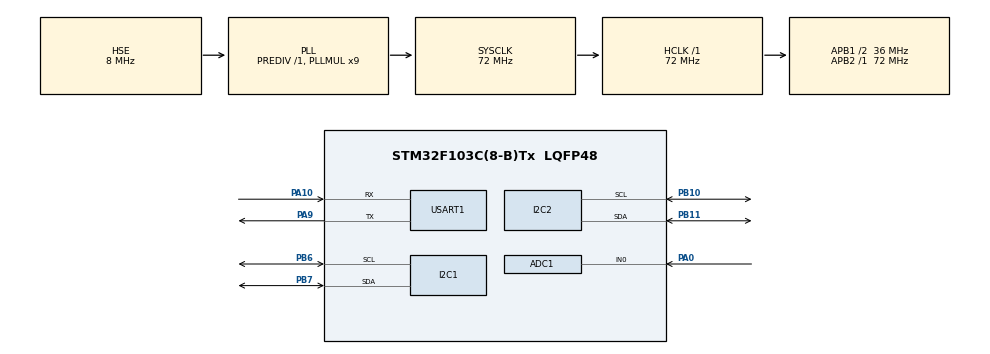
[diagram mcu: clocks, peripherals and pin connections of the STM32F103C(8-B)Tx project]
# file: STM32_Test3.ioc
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ADC1.Channel-0\#ChannelRegularConversion=ADC_CHANNEL_0
ADC1.NbrOfConversionFlag=1
ADC1.Rank-0\#ChannelRegularConversion=1
ADC1.SamplingTime-0\#ChannelRegularConversion=ADC_SAMPLETIME_1CYCLE_5
ADC1.master=1
Mcu.Family=STM32F1
Mcu.Name=STM32F103C(8-B)Tx
Mcu.Package=LQFP48
NVIC.PriorityGroup=NVIC_PRIORITYGROUP_4
NVIC.TIM2_IRQn=true\:0\:0\:false\:false\:true\:true\:true\:true
NVIC.USART1_IRQn=true\:0\:0\:false\:false\:true\:true\:true\:true
PA0-WKUP.Signal=ADCx_IN0
PA10.Mode=Asynchronous
PA10.Signal=USART1_RX
PA13.Mode=Serial_Wire
PA13.Signal=SYS_JTMS-SWDIO
PA14.Mode=Serial_Wire
PA14.Signal=SYS_JTCK-SWCLK
PA9.Mode=Asynchronous
PA9.Signal=USART1_TX
PB10.Mode=I2C
PB10.Signal=I2C2_SCL
PB11.Mode=I2C
PB11.Signal=I2C2_SDA
PB6.Mode=I2C
PB6.Signal=I2C1_SCL
PB7.Mode=I2C
PB7.Signal=I2C1_SDA
PD0-OSC_IN.Mode=HSE-External-Oscillator
PD0-OSC_IN.Signal=RCC_OSC_IN
PD1-OSC_OUT.Mode=HSE-External-Oscillator
PD1-OSC_OUT.Signal=RCC_OSC_OUT
ProjectManager.HeapSize=0x200
ProjectManager.StackSize=0x400
ProjectManager.TargetToolchain=STM32CubeIDE
RCC.ADCPresc=RCC_ADCPCLK2_DIV6
RCC.AHBFreq_Value=72000000
RCC.APB1CLKDivider=RCC_HCLK_DIV2
RCC.APB1Freq_Value=36000000
RCC.APB1TimFreq_Value=72000000
RCC.APB2Freq_Value=72000000
RCC.APB2TimFreq_Value=72000000
RCC.HCLKFreq_Value=72000000
RCC.PLLMUL=RCC_PLL_MUL9
RCC.PLLSourceVirtual=RCC_PLLSOURCE_HSE
RCC.SYSCLKFreq_VALUE=72000000
RCC.SYSCLKSource=RCC_SYSCLKSOURCE_PLLCLK
RCC.USBFreq_Value=72000000
SH.ADCx_IN0.0=ADC1_IN0,IN0
TIM2.AutoReloadPreload=TIM_AUTORELOAD_PRELOAD_ENABLE
TIM2.Period=999
TIM2.Prescaler=7199
USART1.VirtualMode=VM_ASYNC
VP_TIM2_VS_ClockSourceINT.Mode=Internal
board=custom

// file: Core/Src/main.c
/* USER CODE BEGIN Header */
/**
  ******************************************************************************
  * @file           : main.c
  * @brief          : Main program body
  ******************************************************************************
  * @attention
  *
  * Copyright (c) 2026 STMicroelectronics.
  * All rights reserved.
  *
  * This software is licensed under terms that can be found in the LICENSE file
  * in the root directory of this software component.
  * If no LICENSE file comes with this software, it is provided AS-IS.
  *
  ******************************************************************************
  */
/* USER CODE END Header */
#include "main.h"

/* USER CODE BEGIN Includes */
#include "lcd_con.h"
#include <stdio.h>
#include <string.h>
#include <stdlib.h>
#include "sht3x.h"
/* USER CODE END Includes */

/* USER CODE BEGIN PD */
#define FRAME_DURATION_MS   100
#define RX_BUFFER_SIZE      50

/* USER CODE END PD */

ADC_HandleTypeDef hadc1;

I2C_HandleTypeDef hi2c1;
I2C_HandleTypeDef hi2c2;

TIM_HandleTypeDef htim2;

UART_HandleTypeDef huart1;

/* USER CODE BEGIN PV */

sht3x_handle_t sht3x;
float temp = 0.0f;
float soil = 0.0f;

uint32_t frame_idx = 0;

uint32_t major_cycle_ms = 2000; // Mặc định 2000ms
uint32_t total_frames = 20;     // Mặc định 20 frames

uint8_t rx_byte_irq;
char cmd_buffer[RX_BUFFER_SIZE];
uint8_t rx_indx = 0;
bool is_system_running = false;

volatile uint8_t timer_flag = 0;
volatile uint8_t cmd_idx = 0;
volatile uint8_t cmd_flag = 0;
/* USER CODE END PV */

void SystemClock_Config(void);
static void MX_GPIO_Init(void);
static void MX_I2C1_Init(void);
static void MX_ADC1_Init(void);
static void MX_I2C2_Init(void);
static void MX_USART1_UART_Init(void);
static void MX_TIM2_Init(void);
/* USER CODE BEGIN PFP */
// --- KHAI BÁO TÊN TASK ---
void Task_SHT30(void);
void Task_Soil(void);
void Task_Cmd(void);
void Task_LCD(void);
/* USER CODE END PFP */

/* USER CODE BEGIN 0 */
#ifdef __GNUC__
int _write(int file, char *ptr, int len) {
    HAL_UART_Transmit(&huart1, (uint8_t*)ptr, len, 100); return len;
}
#endif

float SoilMoisture_Convert(uint16_t adc_value) {
    if (adc_value > 2370) adc_value = 2370;
    if (adc_value < 470)  adc_value = 470;
    return (float)(2370 - adc_value) * 100.0f / (2370 - 470);
}

/* 1. Task SHT30 */
void Task_SHT30(void) {
    uint32_t t_start = HAL_GetTick(); // Bắt đầu đo thời gian thực thi
    float dummy;
    sht3x_read_temperature_and_humidity(&sht3x, &temp, &dummy);
    printf("Task 1 in: %lu\r\n", t_start);
    printf("Data SHT30: Temp: %.1f C\r\n", temp);
    uint32_t t_exec = HAL_GetTick() - t_start;
    printf("[EXEC] Task_SHT30 time: %lu ms\r\n\r\n", t_exec);
}

/* 2. Task Soil */
void Task_Soil(void) {
    uint32_t t_start = HAL_GetTick();
    HAL_ADC_Start(&hadc1);
    if (HAL_ADC_PollForConversion(&hadc1, 10) == HAL_OK)
        soil = SoilMoisture_Convert(HAL_ADC_GetValue(&hadc1));
    HAL_ADC_Stop(&hadc1);
    printf("Task 2 in: %lu\r\n", t_start);
    printf("Data Soil: %.1f %%\r\n", soil);
    uint32_t t_exec = HAL_GetTick() - t_start;
    printf("[EXEC] Task_Soil time: %lu ms\r\n\r\n", t_exec);
}

/* 3. Task LCD */
void Task_LCD(void) {
    uint32_t t_start = HAL_GetTick();
    char LcdBuf[20];
    snprintf(LcdBuf, 20, "Temp: %.1f C    ", temp);
    lcd_gotoxy(&hi2c1, 0, 0); lcd_puts(&hi2c1, LcdBuf);
    snprintf(LcdBuf, 20, "Soil: %.1f %%    ", soil);
    lcd_gotoxy(&hi2c1, 0, 1); lcd_puts(&hi2c1, LcdBuf);
    printf("Task 3 in: %lu\r\n", t_start); // Thêm dòng này cho đồng bộ
    uint32_t t_exec = HAL_GetTick() - t_start;
    printf("[EXEC] Task_LCD time: %lu ms\r\n\r\n", t_exec);
}

void Process_Command(void) {
    // 1. START
    if (cmd_buffer[0] == '0') {
        if (!is_system_running) {
            is_system_running = true;
            printf("\r\n>>> SYSTEM STARTED <<<\r\n");
            lcd_clear(&hi2c1);
        }
    }
    // 2. STOP
    else if (cmd_buffer[0] == '1') {
        if (is_system_running) {
            is_system_running = false;
            printf("\r\n>>> SYSTEM STOPPED <<<\r\n");
            lcd_clear(&hi2c1);
            lcd_puts(&hi2c1, "STOPPED");
        }
    }
    // 3. CHANGE CYCLE (C:xxxx)
    else if (cmd_buffer[0] == 'C' && cmd_buffer[1] == ':') {
        int new_cycle = atoi(&cmd_buffer[2]);
        if (new_cycle >= 1600) {
            major_cycle_ms = new_cycle;
            total_frames = major_cycle_ms / FRAME_DURATION_MS;
            frame_idx = 0; // Reset vòng lặp
            printf("\r\n>>> OK: New Cycle = %lu ms (%lu frames) <<<\r\n", major_cycle_ms, total_frames);
        } else {
            printf("\r\n>>> ERROR: Min cycle is 1600ms <<<\r\n");
        }
    }
    else {
        printf("\r\n>>> Unknown Command: %s <<<\r\n", cmd_buffer);
    }

    // Xóa buffer
    memset(cmd_buffer, 0, RX_BUFFER_SIZE);
}
/* USER CODE END 0 */

int main(void)
{

  /* MCU Configuration--------------------------------------------------------*/

  /* Reset of all peripherals, Initializes the Flash interface and the Systick. */
  HAL_Init();

  /* Configure the system clock */
  SystemClock_Config();

  /* Initialize all configured peripherals */
  MX_GPIO_Init();
  MX_I2C1_Init();
  MX_ADC1_Init();
  MX_I2C2_Init();
  MX_USART1_UART_Init();
  MX_TIM2_Init();
  /* USER CODE BEGIN 2 */
  sht3x.i2c_handle = &hi2c2;
  sht3x.device_address = SHT3X_I2C_DEVICE_ADDRESS_ADDR_PIN_LOW;
  sht3x_init(&sht3x);

  lcd_init(&hi2c1);          // Khởi tạo LCD qua I2C1
  lcd_puts(&hi2c1, "System Init...");
  HAL_Delay(1000);
  lcd_clear(&hi2c1);
  printf("Init Done. Send '0' to start, '1' to stop.\r\n");

  HAL_UART_Receive_IT(&huart1, &rx_byte_irq, 1);
  HAL_TIM_Base_Start_IT(&htim2);
  /* USER CODE END 2 */

  /* Infinite loop */
  while (1)
  {

    /* USER CODE BEGIN 3 */
	   if (timer_flag == 1) {
	       timer_flag = 0;

	       if (cmd_flag == 1) {
	           cmd_flag = 0;
	           Process_Command();
	       }

	       if (is_system_running) {
	           switch (frame_idx) {
	                case 0:  Task_SHT30(); break;
	                case 5:  Task_Soil();  break;
	                case 10: Task_SHT30(); break;
	                case 15: Task_LCD();   break;
	                default: break;
	           }
	           frame_idx++;
	           if (frame_idx >= total_frames) frame_idx = 0;
	        }

	        if (timer_flag == 1) {
	            printf("ERROR: Overrun! Task took > 100ms\r\n");
	        }
	        HAL_PWR_EnterSLEEPMode(PWR_MAINREGULATOR_ON, PWR_SLEEPENTRY_WFI);
	   }
  }
  /* USER CODE END 3 */
}

void SystemClock_Config(void)
{
  RCC_OscInitTypeDef RCC_OscInitStruct = {0};
  RCC_ClkInitTypeDef RCC_ClkInitStruct = {0};
  RCC_PeriphCLKInitTypeDef PeriphClkInit = {0};

  /** Initializes the RCC Oscillators according to the specified parameters
  * in the RCC_OscInitTypeDef structure.
  */
  RCC_OscInitStruct.OscillatorType = RCC_OSCILLATORTYPE_HSE;
  RCC_OscInitStruct.HSEState = RCC_HSE_ON;
  RCC_OscInitStruct.HSEPredivValue = RCC_HSE_PREDIV_DIV1;
  RCC_OscInitStruct.HSIState = RCC_HSI_ON;
  RCC_OscInitStruct.PLL.PLLState = RCC_PLL_ON;
  RCC_OscInitStruct.PLL.PLLSource = RCC_PLLSOURCE_HSE;
  RCC_OscInitStruct.PLL.PLLMUL = RCC_PLL_MUL9;
  if (HAL_RCC_OscConfig(&RCC_OscInitStruct) != HAL_OK)
  {
    Error_Handler();
  }

  /** Initializes the CPU, AHB and APB buses clocks
  */
  RCC_ClkInitStruct.ClockType = RCC_CLOCKTYPE_HCLK|RCC_CLOCKTYPE_SYSCLK
                              |RCC_CLOCKTYPE_PCLK1|RCC_CLOCKTYPE_PCLK2;
  RCC_ClkInitStruct.SYSCLKSource = RCC_SYSCLKSOURCE_PLLCLK;
  RCC_ClkInitStruct.AHBCLKDivider = RCC_SYSCLK_DIV1;
  RCC_ClkInitStruct.APB1CLKDivider = RCC_HCLK_DIV2;
  RCC_ClkInitStruct.APB2CLKDivider = RCC_HCLK_DIV1;

  if (HAL_RCC_ClockConfig(&RCC_ClkInitStruct, FLASH_LATENCY_2) != HAL_OK)
  {
    Error_Handler();
  }
  PeriphClkInit.PeriphClockSelection = RCC_PERIPHCLK_ADC;
  PeriphClkInit.AdcClockSelection = RCC_ADCPCLK2_DIV6;
  if (HAL_RCCEx_PeriphCLKConfig(&PeriphClkInit) != HAL_OK)
  {
    Error_Handler();
  }
}

static void MX_ADC1_Init(void)
{

  ADC_ChannelConfTypeDef sConfig = {0};

  /** Common config
  */
  hadc1.Instance = ADC1;
  hadc1.Init.ScanConvMode = ADC_SCAN_DISABLE;
  hadc1.Init.ContinuousConvMode = DISABLE;
  hadc1.Init.DiscontinuousConvMode = DISABLE;
  hadc1.Init.ExternalTrigConv = ADC_SOFTWARE_START;
  hadc1.Init.DataAlign = ADC_DATAALIGN_RIGHT;
  hadc1.Init.NbrOfConversion = 1;
  if (HAL_ADC_Init(&hadc1) != HAL_OK)
  {
    Error_Handler();
  }

  /** Configure Regular Channel
  */
  sConfig.Channel = ADC_CHANNEL_0;
  sConfig.Rank = ADC_REGULAR_RANK_1;
  sConfig.SamplingTime = ADC_SAMPLETIME_1CYCLE_5;
  if (HAL_ADC_ConfigChannel(&hadc1, &sConfig) != HAL_OK)
  {
    Error_Handler();
  }

}

static void MX_I2C1_Init(void)
{

  hi2c1.Instance = I2C1;
  hi2c1.Init.ClockSpeed = 100000;
  hi2c1.Init.DutyCycle = I2C_DUTYCYCLE_2;
  hi2c1.Init.OwnAddress1 = 0;
  hi2c1.Init.AddressingMode = I2C_ADDRESSINGMODE_7BIT;
  hi2c1.Init.DualAddressMode = I2C_DUALADDRESS_DISABLE;
  hi2c1.Init.OwnAddress2 = 0;
  hi2c1.Init.GeneralCallMode = I2C_GENERALCALL_DISABLE;
  hi2c1.Init.NoStretchMode = I2C_NOSTRETCH_DISABLE;
  if (HAL_I2C_Init(&hi2c1) != HAL_OK)
  {
    Error_Handler();
  }

}

static void MX_I2C2_Init(void)
{

  hi2c2.Instance = I2C2;
  hi2c2.Init.ClockSpeed = 100000;
  hi2c2.Init.DutyCycle = I2C_DUTYCYCLE_2;
  hi2c2.Init.OwnAddress1 = 0;
  hi2c2.Init.AddressingMode = I2C_ADDRESSINGMODE_7BIT;
  hi2c2.Init.DualAddressMode = I2C_DUALADDRESS_DISABLE;
  hi2c2.Init.OwnAddress2 = 0;
  hi2c2.Init.GeneralCallMode = I2C_GENERALCALL_DISABLE;
  hi2c2.Init.NoStretchMode = I2C_NOSTRETCH_DISABLE;
  if (HAL_I2C_Init(&hi2c2) != HAL_OK)
  {
    Error_Handler();
  }

}

static void MX_TIM2_Init(void)
{

  TIM_ClockConfigTypeDef sClockSourceConfig = {0};
  TIM_MasterConfigTypeDef sMasterConfig = {0};

  htim2.Instance = TIM2;
  htim2.Init.Prescaler = 7199;
  htim2.Init.CounterMode = TIM_COUNTERMODE_UP;
  htim2.Init.Period = 999;
  htim2.Init.ClockDivision = TIM_CLOCKDIVISION_DIV1;
  htim2.Init.AutoReloadPreload = TIM_AUTORELOAD_PRELOAD_ENABLE;
  if (HAL_TIM_Base_Init(&htim2) != HAL_OK)
  {
    Error_Handler();
  }
  sClockSourceConfig.ClockSource = TIM_CLOCKSOURCE_INTERNAL;
  if (HAL_TIM_ConfigClockSource(&htim2, &sClockSourceConfig) != HAL_OK)
  {
    Error_Handler();
  }
  sMasterConfig.MasterOutputTrigger = TIM_TRGO_RESET;
  sMasterConfig.MasterSlaveMode = TIM_MASTERSLAVEMODE_DISABLE;
  if (HAL_TIMEx_MasterConfigSynchronization(&htim2, &sMasterConfig) != HAL_OK)
  {
    Error_Handler();
  }

}

static void MX_USART1_UART_Init(void)
{

  huart1.Instance = USART1;
  huart1.Init.BaudRate = 115200;
  huart1.Init.WordLength = UART_WORDLENGTH_8B;
  huart1.Init.StopBits = UART_STOPBITS_1;
  huart1.Init.Parity = UART_PARITY_NONE;
  huart1.Init.Mode = UART_MODE_TX_RX;
  huart1.Init.HwFlowCtl = UART_HWCONTROL_NONE;
  huart1.Init.OverSampling = UART_OVERSAMPLING_16;
  if (HAL_UART_Init(&huart1) != HAL_OK)
  {
    Error_Handler();
  }

}

static void MX_GPIO_Init(void)
{

  /* GPIO Ports Clock Enable */
  __HAL_RCC_GPIOD_CLK_ENABLE();
  __HAL_RCC_GPIOA_CLK_ENABLE();
  __HAL_RCC_GPIOB_CLK_ENABLE();

}

/* USER CODE BEGIN 4 */

void HAL_TIM_PeriodElapsedCallback(TIM_HandleTypeDef *htim)
{
  // Kiểm tra xem có phải Timer 2 ngắt không
  if (htim->Instance == TIM2) {
    timer_flag = 1; // Bật cờ báo hiệu đã hết 100ms
  }
}

void HAL_UART_RxCpltCallback(UART_HandleTypeDef *huart) {
  if (huart->Instance == USART1) {

    // [FIX LỖI] Chỉ xử lý '0', '1' nhanh nếu nó là ký tự đầu tiên
    if ((rx_byte_irq == '0' || rx_byte_irq == '1') && cmd_idx == 0) {
        cmd_buffer[0] = rx_byte_irq;
        cmd_buffer[1] = '\0';
        cmd_flag = 1;
        cmd_idx = 0;
    }
    // Kiểm tra ký tự kết thúc lệnh
    else if (rx_byte_irq == '\n' || rx_byte_irq == '\r' || rx_byte_irq == '!') {
        cmd_buffer[cmd_idx] = '\0'; // Kết thúc chuỗi
        cmd_flag = 1;
        cmd_idx = 0; // Reset index cho lệnh sau
    }
    else {
        // Nhận dữ liệu bình thường (bao gồm cả số 0 trong 5000)
        if (cmd_idx < (RX_BUFFER_SIZE - 1)) {
            cmd_buffer[cmd_idx++] = rx_byte_irq;
        } else {
            cmd_idx = 0; // Tràn buffer thì reset
        }
    }

    // Bật lại ngắt
    HAL_UART_Receive_IT(&huart1, &rx_byte_irq, 1);
  }
}

/* USER CODE END 4 */

void Error_Handler(void)
{
  __disable_irq();
  while (1)
  {
  }
}
